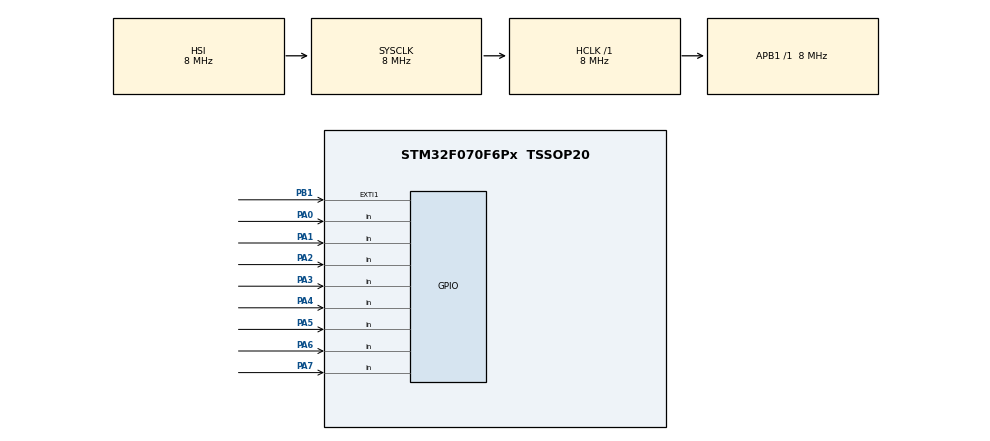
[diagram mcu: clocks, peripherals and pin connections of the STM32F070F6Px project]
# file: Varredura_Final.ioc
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Mcu.Family=STM32F0
Mcu.Name=STM32F070F6Px
Mcu.Package=TSSOP20
NVIC.EXTI0_1_IRQn=true\:0\:0\:false\:false\:true\:true\:true\:true
PA0.Signal=GPIO_Input
PA1.Signal=GPIO_Input
PA2.Signal=GPIO_Input
PA3.Signal=GPIO_Input
PA4.Signal=GPIO_Input
PA5.Signal=GPIO_Input
PA6.Signal=GPIO_Input
PA7.Signal=GPIO_Input
PB1.Signal=GPXTI1
ProjectManager.HeapSize=0x200
ProjectManager.StackSize=0x400
ProjectManager.TargetToolchain=STM32CubeIDE
RCC.AHBFreq_Value=8000000
RCC.APB1Freq_Value=8000000
RCC.APB1TimFreq_Value=8000000
RCC.HCLKFreq_Value=8000000
RCC.PLLMUL=RCC_PLL_MUL6
RCC.SYSCLKFreq_VALUE=8000000
board=custom

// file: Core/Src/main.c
/* USER CODE BEGIN Header */
/**
  ******************************************************************************
  * @file           : main.c
  * @brief          : Main program body
  ******************************************************************************
  * @attention
  *
  * Copyright (c) 2022 STMicroelectronics.
  * All rights reserved.
  *
  * This software is licensed under terms that can be found in the LICENSE file
  * in the root directory of this software component.
  * If no LICENSE file comes with this software, it is provided AS-IS.
  *
  ******************************************************************************
  */
/* USER CODE END Header */
#include "main.h"
#include "LCDI2C.h"
#include "string.h"

void SystemClock_Config(void);
static void MX_GPIO_Init(void);

/* USER CODE BEGIN 0 */
void Timer (segundos, minutos, horas, k)
    {
       if (segundos > 59) {

			  minutos++;
			  segundos = segundos - 60;

			  if(minutos > 59) {

				horas++;
				minutos = minutos - 60;

			  }
		  }
		  if ((segundos < 1) && (minutos < 1)) {

			  	  	  horas--;
		              minutos = 59;
		              segundos = 60;
		  }

		  if (segundos < 1) {

			  minutos--;
			  segundos = 60;
		  }

	      segundos--;
		  lcd_put_cur(k, 0);
		  if(k == 0) {
		  lcd_send_string("Green: ");
		  }
		  if(k == 1) {
		  lcd_send_string("Blue:  ");
		  }
		  itoa(horas, h, 10);
		  lcd_send_string("0");
		  lcd_send_string(h);
		  lcd_send_string(":");
		  if(minutosb < 10) {
			  lcd_send_string("0");
		  }
		  itoa(minutos, m, 10);
		  lcd_send_string(m);
		  lcd_send_string(":");
		  if(segundos < 10) {
			  lcd_send_string("0");
		  }
		  itoa(segundos, s, 10);
		  lcd_send_string(s);

    }
/* USER CODE END 0 */

int main(void)
{

  /* MCU Configuration--------------------------------------------------------*/

  /* Reset of all peripherals, Initializes the Flash interface and the Systick. */
  HAL_Init();

  /* Configure the system clock */
  SystemClock_Config();

  /* Initialize all configured peripherals */
  MX_GPIO_Init();

  /* Infinite loop */
  /* USER CODE BEGIN WHILE */
  while (1)
  {

	  if(k == 0) {
	          Timer(segundosg, minutosg, horasg, 0);
	      }
	  if(k == 1) {
	          Timer(segundosb, minutosb, horasb, 1);
	      }

    /* USER CODE END WHILE */

  }
}
void HAL_GPIO_EXTI_Callback(uint16_t GPIO_Pin)
    {
        if (GPIO_Pin == GPIO_PIN_9)
        {
        k = 0;
        segundosb = segundosb + 30; //Blue
        }

        if (GPIO_Pin == GPIO_PIN_10)
        {
        k = 1;
        segundosg = segundosg + 30; //Green
        }

    }
void SystemClock_Config(void)
{
  RCC_OscInitTypeDef RCC_OscInitStruct = {0};
  RCC_ClkInitTypeDef RCC_ClkInitStruct = {0};

  /** Initializes the RCC Oscillators according to the specified parameters
  * in the RCC_OscInitTypeDef structure.
  */
  RCC_OscInitStruct.OscillatorType = RCC_OSCILLATORTYPE_HSI;
  RCC_OscInitStruct.HSIState = RCC_HSI_ON;
  RCC_OscInitStruct.HSICalibrationValue = RCC_HSICALIBRATION_DEFAULT;
  RCC_OscInitStruct.PLL.PLLState = RCC_PLL_NONE;
  if (HAL_RCC_OscConfig(&RCC_OscInitStruct) != HAL_OK)
  {
    Error_Handler();
  }

  /** Initializes the CPU, AHB and APB buses clocks
  */
  RCC_ClkInitStruct.ClockType = RCC_CLOCKTYPE_HCLK|RCC_CLOCKTYPE_SYSCLK
                              |RCC_CLOCKTYPE_PCLK1;
  RCC_ClkInitStruct.SYSCLKSource = RCC_SYSCLKSOURCE_HSI;
  RCC_ClkInitStruct.AHBCLKDivider = RCC_SYSCLK_DIV1;
  RCC_ClkInitStruct.APB1CLKDivider = RCC_HCLK_DIV1;

  if (HAL_RCC_ClockConfig(&RCC_ClkInitStruct, FLASH_LATENCY_0) != HAL_OK)
  {
    Error_Handler();
  }
}

static void MX_GPIO_Init(void)
{
  GPIO_InitTypeDef GPIO_InitStruct = {0};

  /* GPIO Ports Clock Enable */
  __HAL_RCC_GPIOA_CLK_ENABLE();
  __HAL_RCC_GPIOB_CLK_ENABLE();

  /*Configure GPIO pins : PA0 PA1 PA2 PA3
                           PA4 PA5 PA6 PA7 */
  GPIO_InitStruct.Pin = GPIO_PIN_0|GPIO_PIN_1|GPIO_PIN_2|GPIO_PIN_3
                          |GPIO_PIN_4|GPIO_PIN_5|GPIO_PIN_6|GPIO_PIN_7;
  GPIO_InitStruct.Mode = GPIO_MODE_INPUT;
  GPIO_InitStruct.Pull = GPIO_NOPULL;
  HAL_GPIO_Init(GPIOA, &GPIO_InitStruct);

  /*Configure GPIO pin : PB1 */
  GPIO_InitStruct.Pin = GPIO_PIN_1;
  GPIO_InitStruct.Mode = GPIO_MODE_IT_RISING;
  GPIO_InitStruct.Pull = GPIO_NOPULL;
  HAL_GPIO_Init(GPIOB, &GPIO_InitStruct);

  /* EXTI interrupt init*/
  HAL_NVIC_SetPriority(EXTI0_1_IRQn, 0, 0);
  HAL_NVIC_EnableIRQ(EXTI0_1_IRQn);

}

void Error_Handler(void)
{
  __disable_irq();
  while (1)
  {
  }
}
